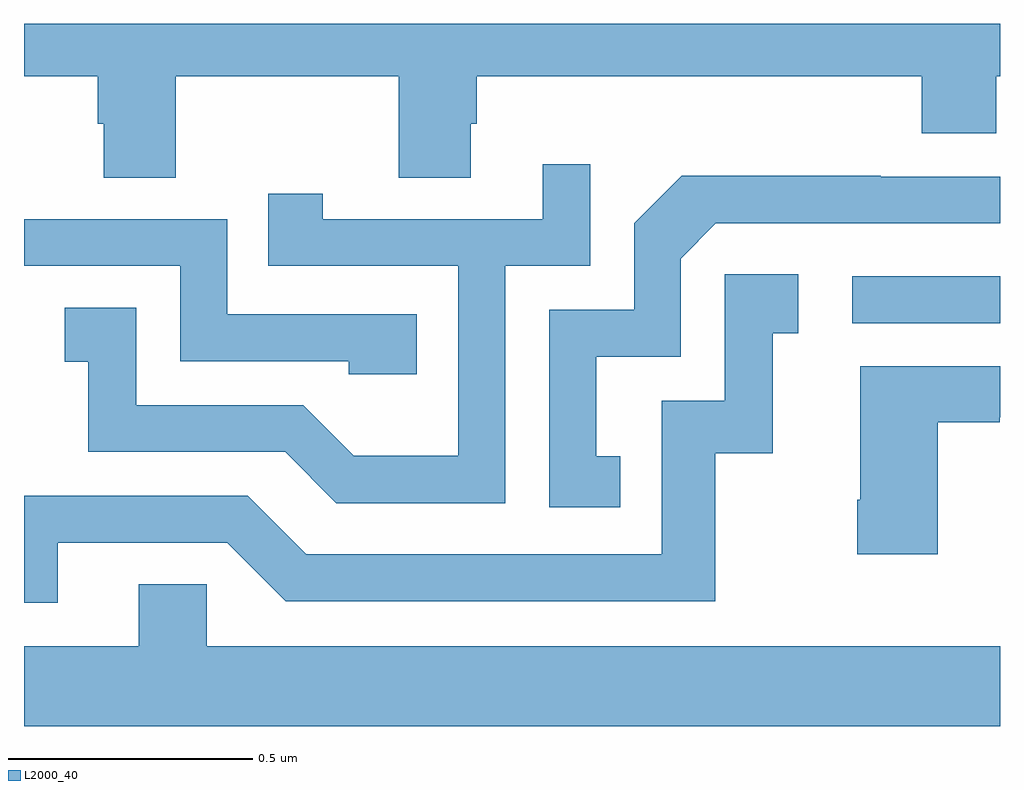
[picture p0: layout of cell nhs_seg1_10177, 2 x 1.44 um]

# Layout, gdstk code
import gdstk
lib = gdstk.Library(unit=1e-6, precision=1e-09)
def R(c, l, rs):  # rectangles x0, y0, x1, y1
    for r in rs: c.add(gdstk.rectangle(r[:2], r[2:], *l))
def P(c, l, *ps):  # polygons
    for p in ps: c.add(gdstk.Polygon(p, *l))
L2000_40 = (2000, 40)

nhs_seg1_10177 = lib.new_cell('nhs_seg1_10177')
R(nhs_seg1_10177, L2000_40, [(239.697,524.586,240,524.682)])
P(nhs_seg1_10177, L2000_40, [(238,525.092),(238.151,525.092),(238.151,524.994),(238.163,524.994),(238.163,524.884),(238.311,524.884),(238.311,525.092),(238.768,525.092),(238.768,524.884),(238.915,524.884),(238.915,524.994),(238.928,524.994),(238.928,525.092),(239.84,525.092),(239.84,524.975),(239.992,524.975),(239.992,525.092),(240,525.092),(240,525.199),(238,525.199)],
  [(238.986,524.703),(239.16,524.703),(239.16,524.911),(239.063,524.911),(239.063,524.799),(238.612,524.799),(238.612,524.851),(238.501,524.851),(238.501,524.703),(238.89,524.703),(238.89,524.314),(238.676,524.314),(238.572,524.418),(238.23,524.418),(238.23,524.617),(238.083,524.617),(238.083,524.507),(238.132,524.507),(238.132,524.322),(238.535,524.322),(238.64,524.217),(238.986,524.217)],
  [(239.222,524.313),(239.173,524.313),(239.173,524.517),(239.346,524.517),(239.346,524.718),(239.418,524.79),(240,524.79),(240,524.886),(239.756,524.886),(239.756,524.888),(239.348,524.888),(239.25,524.79),(239.25,524.613),(239.076,524.613),(239.076,524.208),(239.222,524.208)],
  [(238.805,524.604),(238.416,524.604),(238.416,524.799),(238,524.799),(238,524.703),(238.32,524.703),(238.32,524.508),(238.665,524.508),(238.665,524.481),(238.805,524.481)],
  [(238.069,524.136),(238.416,524.136),(238.536,524.016),(239.416,524.016),(239.416,524.319),(239.534,524.319),(239.534,524.565),(239.587,524.565),(239.587,524.686),(239.436,524.686),(239.436,524.427),(239.307,524.427),(239.307,524.112),(238.578,524.112),(238.458,524.232),(238,524.232),(238,524.013),(238.069,524.013)],
  [(239.872,524.383),(239.999,524.383),(239.999,524.393),(240,524.393),(240,524.497),(239.714,524.497),(239.714,524.224),(239.707,524.224),(239.707,524.112),(239.872,524.112)],
  [(240,523.924),(238.374,523.924),(238.374,524.051),(238.235,524.051),(238.235,523.924),(238,523.924),(238,523.76),(240,523.76)])

lib.write_gds('nhs_seg1_10177.gds')
